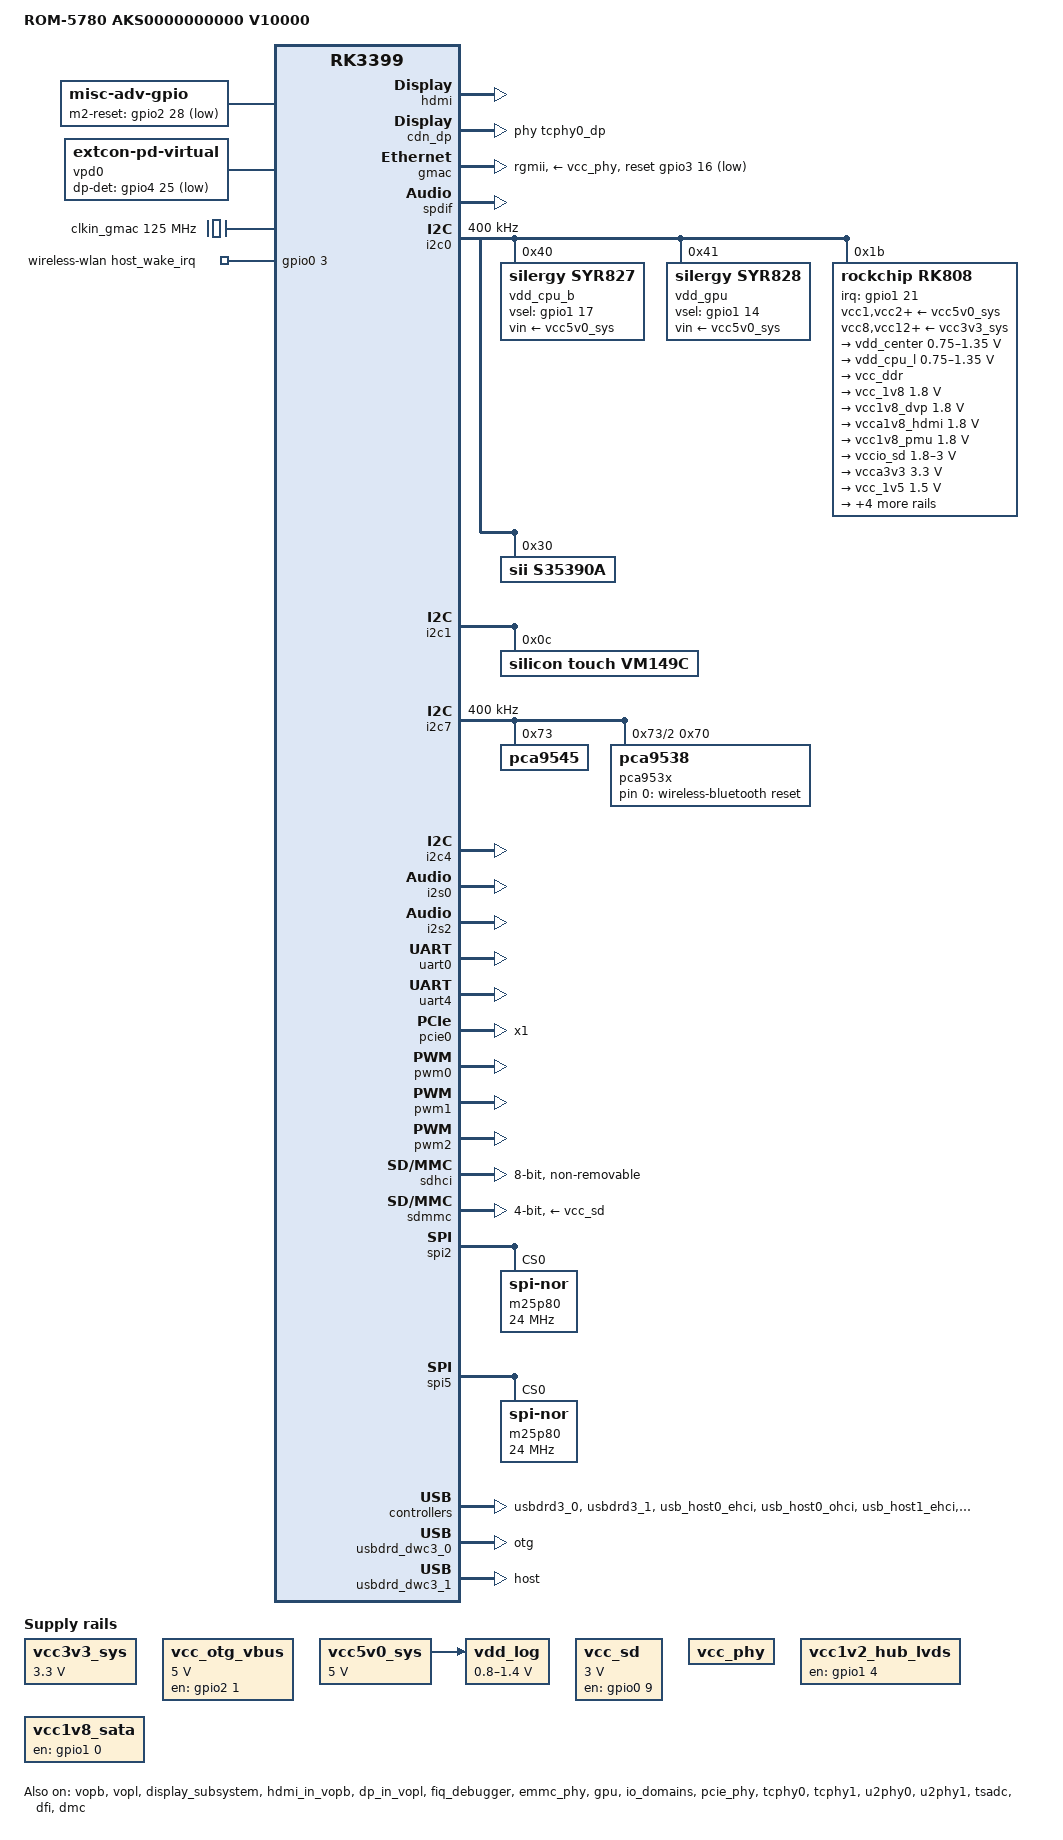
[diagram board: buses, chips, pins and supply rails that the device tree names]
/*
 * Copyright (c) 2019 Fuzhou Rockchip Electronics Co., Ltd
 *
 * This file is dual-licensed: you can use it either under the terms
 * of the GPL or the X11 license, at your option. Note that this dual
 * licensing only applies to this file, and not this project as a
 * whole.
 *
 *  a) This file is free software; you can redistribute it and/or
 *     modify it under the terms of the GNU General Public License as
 *     published by the Free Software Foundation; either version 2 of the
 *     License, or (at your option) any later version.
 *
 *     This file is distributed in the hope that it will be useful,
 *     but WITHOUT ANY WARRANTY; without even the implied warranty of
 *     MERCHANTABILITY or FITNESS FOR A PARTICULAR PURPOSE.  See the
 *     GNU General Public License for more details.
 *
 * Or, alternatively,
 *
 *  b) Permission is hereby granted, free of charge, to any person
 *     obtaining a copy of this software and associated documentation
 *     files (the "Software"), to deal in the Software without
 *     restriction, including without limitation the rights to use,
 *     copy, modify, merge, publish, distribute, sublicense, and/or
 *     sell copies of the Software, and to permit persons to whom the
 *     Software is furnished to do so, subject to the following
 *     conditions:
 *
 *     The above copyright notice and this permission notice shall be
 *     included in all copies or substantial portions of the Software.
 *
 *     THE SOFTWARE IS PROVIDED "AS IS", WITHOUT WARRANTY OF ANY KIND,
 *     EXPRESS OR IMPLIED, INCLUDING BUT NOT LIMITED TO THE WARRANTIES
 *     OF MERCHANTABILITY, FITNESS FOR A PARTICULAR PURPOSE AND
 *     NONINFRINGEMENT. IN NO EVENT SHALL THE AUTHORS OR COPYRIGHT
 *     HOLDERS BE LIABLE FOR ANY CLAIM, DAMAGES OR OTHER LIABILITY,
 *     WHETHER IN AN ACTION OF CONTRACT, TORT OR OTHERWISE, ARISING
 *     FROM, OUT OF OR IN CONNECTION WITH THE SOFTWARE OR THE USE OR
 *     OTHER DEALINGS IN THE SOFTWARE.
 */

/dts-v1/;
#include "dt-bindings/display/rk_fb.h"
#include "dt-bindings/pwm/pwm.h"
#include "rk3399.dtsi"
#include "rk3399-opp.dtsi"

#include "rk3399-linux.dtsi"
#include <dt-bindings/input/input.h>

//hdmi/dp dummy panel
#include <dt-bindings/display/screen-timing/lcd-adv-dummy.dtsi>

// edp panel
#include <dt-bindings/display/screen-timing/lcd-edp-general.dtsi>

// mipi-dsi to lvds panel
#include <dt-bindings/display/screen-timing/lcd-g070vw01.dtsi>
#include <dt-bindings/display/screen-timing/lcd-g150xgel05.dtsi>
#include <dt-bindings/display/screen-timing/lcd-g215hvn01.dtsi>
#include <dt-bindings/display/screen-timing/lcd-n101icgl21.dtsi>

/ {
	model = "ROM-5780 AKS0000000000 V10000";
	compatible = "rockchip,rk3399-rom5780-a1", "rockchip,rk3399";

	aliases {
		edp = &edp;
		hdmi = &hdmi;
		dp = &cdn_dp;
		vpd = &vpd0;
		dsi = &dsi;
		dsi1 = &dsi1;

		edp_in_vopb = &edp_in_vopb;
		edp_in_vopl = &edp_in_vopl;
		edp_panel = &edp_panel;
		hdmi_in_vopb = &hdmi_in_vopb;
		hdmi_in_vopl = &hdmi_in_vopl;
		dp_in_vopb = &dp_in_vopb;
		dp_in_vopl = &dp_in_vopl;
		dsi_in_vopb = &dsi_in_vopb;
		dsi_in_vopl = &dsi_in_vopl;
		dsi1_in_vopb = &dsi1_in_vopb;
		dsi1_in_vopl = &dsi1_in_vopl;

		edp_backlight = &backlight0;
		dsi_backlight = &backlight1;

		edp_vcc = &edp_vcc;
		edp_bkl_vdd = &edp_bkl_vdd;
		lvds_pwr_vcc = &lvds_pwr_vcc;
		lvds_bkl_vcc = &lvds_bkl_vcc;

		edp_route = &route_edp;
		dsi_route = &route_dsi;
		hdmi_route = &route_hdmi;

		hdmi_sound = &hdmi_sound;
		hdmi_i2s = &i2s2;
		dp_phy = &tcphy0;

		debug_console = &fiq_debugger;
		ethernet0 = &gmac;
	};

	fdt_dummy {
		status = "disabled";
		value = < 0 1 2 3 4 5 6 7 8 9
				  0 1 2 3 4 5 6 7 8 9
				  0 1 2 3 4 5 6 7 8 9
				  0 1 2 3 4 5 6 7 8 9 >;
	};

	misc-adv-gpio {
		compatible = "misc-adv-gpio";
		status = "okay";
		pinctrl-names = "default";
		pinctrl-0 = <&m2_reset_l>;
		m2-reset-gpio = <&gpio2 28 GPIO_ACTIVE_LOW>;
		timing-interval = <100>;
	};

	// Backlight edp
	backlight0: backlight0 {
		status = "disabled";
		compatible = "pwm-backlight";
		enable-gpios = <&gpio2 6 GPIO_ACTIVE_HIGH>;
		power-supply = <&edp_bkl_vdd>;
		pinctrl-names = "default";
		pinctrl-0 = <&edp_bkl_en>;
		pwms = <&pwm0 0 25000 0>;
		brightness-levels = <
			  0   1   2   3   4   5   6   7
			  8   9  10  11  12  13  14  15
			 16  17  18  19  20  21  22  23
			 24  25  26  27  28  29  30  31
			 32  33  34  35  36  37  38  39
			 40  41  42  43  44  45  46  47
			 48  49  50  51  52  53  54  55
			 56  57  58  59  60  61  62  63
			 64  65  66  67  68  69  70  71
			 72  73  74  75  76  77  78  79
			 80  81  82  83  84  85  86  87
			 88  89  90  91  92  93  94  95
			 96  97  98  99 100 101 102 103
			104 105 106 107 108 109 110 111
			112 113 114 115 116 117 118 119
			120 121 122 123 124 125 126 127
			128 129 130 131 132 133 134 135
			136 137 138 139 140 141 142 143
			144 145 146 147 148 149 150 151
			152 153 154 155 156 157 158 159
			160 161 162 163 164 165 166 167
			168 169 170 171 172 173 174 175
			176 177 178 179 180 181 182 183
			184 185 186 187 188 189 190 191
			192 193 194 195 196 197 198 199
			200 201 202 203 204 205 206 207
			208 209 210 211 212 213 214 215
			216 217 218 219 220 221 222 223
			224 225 226 227 228 229 230 231
			232 233 234 235 236 237 238 239
			240 241 242 243 244 245 246 247
			248 249 250 251 252 253 254 255>;
		default-brightness-level = <200>;
	};

	// Backlight dsi2lvds
	backlight1: backlight1 {
		status = "disabled";
		compatible = "pwm-backlight";
		/*power-supply = <&lvds_bkl_vcc>; //kernle*/
		/*power-gpios = <&gpio1 0 GPIO_ACTIVE_HIGH>; //uboot*/
		enable-gpios = <&gpio4 30 GPIO_ACTIVE_HIGH>;
		pinctrl-names = "default";
		pinctrl-0 = <&lvds_bkl_pwm_en>;
		pwms = <&pwm1 0 25000 0>;
		brightness-levels = <
			  0   1   2   3   4   5   6   7
			  8   9  10  11  12  13  14  15
			 16  17  18  19  20  21  22  23
			 24  25  26  27  28  29  30  31
			 32  33  34  35  36  37  38  39
			 40  41  42  43  44  45  46  47
			 48  49  50  51  52  53  54  55
			 56  57  58  59  60  61  62  63
			 64  65  66  67  68  69  70  71
			 72  73  74  75  76  77  78  79
			 80  81  82  83  84  85  86  87
			 88  89  90  91  92  93  94  95
			 96  97  98  99 100 101 102 103
			104 105 106 107 108 109 110 111
			112 113 114 115 116 117 118 119
			120 121 122 123 124 125 126 127
			128 129 130 131 132 133 134 135
			136 137 138 139 140 141 142 143
			144 145 146 147 148 149 150 151
			152 153 154 155 156 157 158 159
			160 161 162 163 164 165 166 167
			168 169 170 171 172 173 174 175
			176 177 178 179 180 181 182 183
			184 185 186 187 188 189 190 191
			192 193 194 195 196 197 198 199
			200 201 202 203 204 205 206 207
			208 209 210 211 212 213 214 215
			216 217 218 219 220 221 222 223
			224 225 226 227 228 229 230 231
			232 233 234 235 236 237 238 239
			240 241 242 243 244 245 246 247
			248 249 250 251 252 253 254 255>;
		default-brightness-level = <200>;
	};

	//edp vcc
	edp_vcc: edp-vcc {
		compatible = "regulator-fixed";
		regulator-name = "edp_vcc";
		pinctrl-names = "default";
		pinctrl-0 = <&edp_vdd_pwr>;
		gpio = <&gpio2 4 GPIO_ACTIVE_HIGH>;
		startup-delay-us = <100000>;
		enable-active-high;
		//regulator-always-on;
		regulator-boot-on;
		//regulator-uboot-logo;
		status = "disabled";
	};

	edp_bkl_vdd: edp-bkl-vdd {
		compatible = "regulator-fixed";
		regulator-name = "edp_bkl_vdd";
		regulator-always-on;
		regulator-boot-on;
		regulator-uboot-logo;
		regulator-min-microvolt = <3300000>;
		regulator-max-microvolt = <3300000>;
		status = "disabled";
	};

	edp_panel: edp-panel {
		status = "disabled";
		compatible = "simple-panel";
		backlight = <&backlight0>;
		power-supply = <&edp_vcc>;
		//power-gpios = <&gpio2 4 GPIO_ACTIVE_HIGH>;
		enable-delay-ms = <50>;
		prepare-delay-ms = <1>;
		unprepare-delay-ms = <1>;
		panel_type = <SCREEN_EDP>;

		display-timings = <&disp_timings>;

		ports {
			panel_in_edp: endpoint {
				remote-endpoint = <&edp_out_panel>;
			};
		};
	};

	//lvds vcc
	lvds_pwr_vcc: lvds-pwr-vcc {
		compatible = "regulator-fixed";
		regulator-name = "lvds_pwr_vcc";
		pinctrl-names = "default";
		pinctrl-0 = <&lvds_vdd_pwr>;
		gpio = <&gpio2 5 GPIO_ACTIVE_HIGH>;
		//startup-delay-us = <20000>;
		enable-active-high;
		//regulator-always-on;
		regulator-boot-on;
		regulator-uboot-logo;
		status = "disabled";
	};

	lvds_bkl_vcc: lvds-bkl-vcc {
		compatible = "regulator-fixed";
		regulator-name = "lvds_bkl_vcc";
		pinctrl-names = "default";
		pinctrl-0 = <&lvds_bkl_pwr_on>;
		gpio = <&gpio1 0 GPIO_ACTIVE_HIGH>;
		enable-active-high;
		//regulator-always-on;
		regulator-boot-on;
		regulator-uboot-logo;
		status = "disabled";
	};

	vpd0: virtual-pd0 {
		compatible = "linux,extcon-pd-virtual";
		dp-det-gpios = <&gpio4 25 GPIO_ACTIVE_LOW>; //GPIO4_D1 - DP_HOTPLUG
		pinctrl-names = "default";
		pinctrl-0 = <&dp_det>;
		/* 0: positive, 1: negative*/
		vpd,init-flip = <0>;
		/* 0: u2, 1: u3*/
		vpd,init-ss = <0>;
		/* 0: dfp, 1: ufp, 2: dp 3: dp/ufp */
		vpd,init-mode = <2>;
		status = "okay";
	};

	hdmi_sound: hdmi-sound {
		status = "okay";
		compatible = "simple-audio-card";
		simple-audio-card,format = "i2s";
		simple-audio-card,mclk-fs = <256>;
		simple-audio-card,name = "rockchip,hdmi";

		simple-audio-card,cpu {
			sound-dai = <&i2s2>;
		};
		simple-audio-card,codec {
			sound-dai = <&hdmi>;
		};
	};

	dp_sound: dp-sound {
		status = "okay";
		compatible = "rockchip,cdndp-sound";
		rockchip,cpu = <&spdif>;
		rockchip,codec = <&cdn_dp 1>;
	};

	clkin_gmac: external-gmac-clock {
		compatible = "fixed-clock";
		clock-frequency = <125000000>;
		clock-output-names = "clkin_gmac";
		#clock-cells = <0>;
	};

	wireless-wlan {
		compatible = "wlan-platdata";
		rockchip,grf = <&grf>;
		wifi_chip_type = "rtl8723bs";
		sdio_vref = <1800>;
		WIFI,host_wake_irq = <&gpio0 3 GPIO_ACTIVE_HIGH>;
		status = "okay";
	};

	wireless-bluetooth {
		compatible = "bluetooth-platdata";
		clocks = <&rk808 1>;
		clock-names = "ext_clock";
		/* wifi-bt-power-toggle; */
		/*uart_rts_gpios = <&gpio2 19 GPIO_ACTIVE_LOW>;*/
		/*pinctrl-names = "default", "rts_gpio";*/
		/*pinctrl-0 = <&uart0_rts>;*/
		/*pinctrl-1 = <&uart0_gpios>;*/
		/* BT,power_gpio  = <&gpio3 19 GPIO_ACTIVE_HIGH>; */
		BT,reset_gpio    = <&pca953x 0 GPIO_ACTIVE_HIGH>;
		status = "okay";
	};

	vcc3v3_sys: vcc3v3-sys {
		compatible = "regulator-fixed";
		regulator-name = "vcc3v3_sys";
		regulator-always-on;
		regulator-boot-on;
		regulator-min-microvolt = <3300000>;
		regulator-max-microvolt = <3300000>;
	};

	vcc_otg_vbus: otg-vbus-regulator {
		compatible = "regulator-fixed";
		gpio = <&gpio2 1 GPIO_ACTIVE_HIGH>;
		pinctrl-names = "default";
		pinctrl-0 = <&otg_vbus_drv>;
		regulator-name = "vcc_otg_vbus";
		regulator-min-microvolt = <5000000>;
		regulator-max-microvolt = <5000000>;
		enable-active-high;
	};

	vcc5v0_sys: vcc5v0-sys {
		compatible = "regulator-fixed";
		regulator-name = "vcc5v0_sys";
		regulator-always-on;
		regulator-boot-on;
		regulator-min-microvolt = <5000000>;
		regulator-max-microvolt = <5000000>;
	};

	vcc_sd: vcc-sd {
		compatible = "regulator-fixed";
		enable-active-high;
		gpio = <&gpio0 9 GPIO_ACTIVE_HIGH>;
		pinctrl-names = "default";
		pinctrl-0 = <&sdio_pwr_en>;
		regulator-name = "vcc_sd";
		regulator-min-microvolt = <3000000>;
		regulator-max-microvolt = <3000000>;
		regulator-boot-on;
	};

	vcc_phy: vcc-phy-regulator {
		compatible = "regulator-fixed";
		regulator-name = "vcc_phy";
		regulator-always-on;
		regulator-boot-on;
	};

	vdd_log: vdd-log {
		compatible = "pwm-regulator";
		pwms = <&pwm2 0 25000 1>;
		regulator-name = "vdd_log";
		regulator-min-microvolt = <800000>;
		regulator-max-microvolt = <1400000>;
		regulator-always-on;
		regulator-boot-on;

		/* for rockchip boot on */
		rockchip,pwm_id= <2>;
		rockchip,pwm_voltage = <900000>;

		vin-supply = <&vcc5v0_sys>;
		status = "okay";
	};

	vcc1v2_hub_lvds: vcc1v2-hub-regulator {
		compatible = "regulator-fixed";
		regulator-name = "vcc1v2_hub_lvds";
		enable-active-high;
		regulator-always-on;
		regulator-boot-on;
		gpio = <&gpio1 4 GPIO_ACTIVE_HIGH>;
		pinctrl-names = "default";
		pinctrl-0 = <&vcc1v2_en>;
	};

	vcc1v8_sata: vcc1v8-sata-regulator {
		compatible = "regulator-fixed";
		enable-active-high;
		regulator-always-on;
		regulator-boot-on;
		gpio = <&gpio1 0 GPIO_ACTIVE_HIGH>; //GPIO1_A0 - SATA_ACT_1V8#
		pinctrl-names = "default";
		pinctrl-0 = <&sata_drv>;
		regulator-name = "vcc1v8_sata";
	};
};

&vopb {
	assigned-clocks = <&cru DCLK_VOP0_DIV>;
	assigned-clock-parents = <&cru PLL_VPLL>;
	status = "okay";
};

&vopb_mmu {
	status = "okay";
};

&vopl {
	assigned-clocks = <&cru DCLK_VOP1_DIV>;
	assigned-clock-parents = <&cru PLL_CPLL>;
	status = "okay";
};

&vopl_mmu {
	status = "okay";
};

&display_subsystem {
	status = "okay";
};

&disp_timings {
	native-mode = <&edp_1920x1080>;
//	native-mode = <&lvds_g070vw01>;
//	native-mode = <&lvds_g150xgel05>;
//	native-mode = <&lvds_g215hvn01>;

	use-dts-screen = <0>;
	prmry-screen = <&hdmi_default>;
	extend-screen = <&dp_default>;
};

// edp
&edp_panel {
	status = "disabled";
};

&edp {
	status = "disabled";
	force-hpd;
	//hpd-gpios = <&gpio4 28 GPIO_ACTIVE_HIGH>;

	ports {
		port@1 {
			reg = <1>;

			edp_out_panel: endpoint {
				remote-endpoint = <&panel_in_edp>;
			};
		};
	};
};

&edp_in_vopb {
	status = "disabled";
};

&edp_in_vopl {
	status = "disabled";
};

&route_edp{
	status = "disabled";
	connect = <&vopl_out_edp>;
};

&route_dsi{
	status = "disabled";
	connect = <&vopl_out_dsi>;
};

&route_hdmi {
	status = "disabled";
};

// hdmi
&hdmi {
	#address-cells = <1>;
	#size-cells = <0>;
	#sound-dai-cells = <0>;
	status = "okay";
};

&hdmi_in_vopb {
	status = "okay";
};

&hdmi_in_vopl {
	status = "disabled";
};

// dp
&cdn_dp {
	status = "okay";
	extcon = <&vpd0>;
	phys = <&tcphy0_dp>;
	dp_vop_sel = <1>;
};

&dp_in_vopb {
	status = "disabled";
};

&dp_in_vopl {
	status = "okay";
};

// dsi
&dsi {
	pinctrl-names = "default";
	pinctrl-0 = <&dsi_enable_h &dsi_reset_l>;
	power-supply = <&vcc1v2_hub_lvds>;
	power-io-supply = <&vcc_1v8>;
	enable-gpios = <&gpio0 2 GPIO_ACTIVE_HIGH>;
	reset-gpios = <&gpio1 24 GPIO_ACTIVE_HIGH>;
	status = "disabled";

	panel@0 {
		compatible = "simple-panel-dsi";
		reg = <0>;
		backlight = <&backlight1>;
		power-supply = <&lvds_pwr_vcc>;
		power-gpios = <&gpio2 5 GPIO_ACTIVE_HIGH>;

		dsi,flags = <(MIPI_DSI_MODE_VIDEO | MIPI_DSI_MODE_VIDEO_BURST |
			      MIPI_DSI_MODE_LPM | MIPI_DSI_MODE_EOT_PACKET)>;
		dsi,format = <MIPI_DSI_FMT_RGB888>;
		dsi,lanes = <4>;
		enable-delay-ms = <250>;
		disable-delay-ms = <330>;
		unprepare-delay-ms = <16>;

		panel_type = <SCREEN_LVDS>;
		display-timings = <&disp_timings>;
	};
};

&dsi_in_vopb {
	status = "disabled";
};

&dsi_in_vopl {
	status = "disabled";
};

&gmac {
	phy-supply = <&vcc_phy>;
	phy-mode = "rgmii";
	clock_in_out = "input";
	snps,reset-gpio = <&gpio3 16 GPIO_ACTIVE_LOW>;
	snps,reset-active-low;
	snps,reset-delays-us = <10 20000 75000>;
	assigned-clocks = <&cru SCLK_RMII_SRC>;
	assigned-clock-parents = <&clkin_gmac>;
	pinctrl-names = "default";
	pinctrl-0 = <&rgmii_16ma_pins &rgmii_phy_reset>;
	enable_phy_delay = <1>;
	tx_delay = <0>;
	rx_delay = <0>;
	status = "okay";
};

&spdif {
	status = "okay";
	/delete-property/ pinctrl-names;
	/delete-property/ pinctrl-0;
};

&i2c0 {
	status = "okay";
	i2c-scl-rising-time-ns = <345>;
	i2c-scl-falling-time-ns = <11>;
	clock-frequency = <400000>;

	vdd_cpu_b: syr827@40 {
		compatible = "silergy,syr827";
		reg = <0x40>;
		vin-supply = <&vcc5v0_sys>;
		regulator-compatible = "fan53555-reg";
		regulator-name = "vdd_cpu_b";
		pinctrl-names = "default";
		pinctrl-0 = <&vsel1_gpio>;
		vsel-gpios = <&gpio1 17 GPIO_ACTIVE_HIGH>;
		regulator-min-microvolt = <712500>;
		regulator-max-microvolt = <1500000>;
		regulator-ramp-delay = <1000>;
		fcs,suspend-voltage-selector = <1>;
		regulator-always-on;
		regulator-boot-on;
		//regulator-initial-state = <3>;
			regulator-state-mem {
			regulator-off-in-suspend;
		};
	};

	vdd_gpu: syr828@41 {
		compatible = "silergy,syr828";
		reg = <0x41>;
		vin-supply = <&vcc5v0_sys>;
		regulator-compatible = "fan53555-reg";
		regulator-name = "vdd_gpu";
		pinctrl-names = "default";
		pinctrl-0 = <&vsel2_gpio>;
		vsel-gpios = <&gpio1 14 GPIO_ACTIVE_HIGH>;
		regulator-min-microvolt = <712500>;
		regulator-max-microvolt = <1500000>;
		regulator-ramp-delay = <1000>;
		fcs,suspend-voltage-selector = <1>;
		regulator-always-on;
		regulator-boot-on;
		//regulator-initial-state = <3>;
		regulator-initial-mode = <1>; /* 1:force PWM 2:auto */
			regulator-state-mem {
			regulator-off-in-suspend;
		};
	};

	rk808: pmic@1b {
		compatible = "rockchip,rk808";
		reg = <0x1b>;
		interrupt-parent = <&gpio1>;
		interrupts = <21 IRQ_TYPE_LEVEL_LOW>;
		pinctrl-names = "default";
		pinctrl-0 = <&pmic_int_l &clk32k_in>;
		rockchip,system-power-controller;
		wakeup-source;
		#clock-cells = <1>;
		clock-output-names = "rk808-clkout1", "rk808-clkout2";
		bulk-ilmax = <0x50>;

		vcc1-supply = <&vcc5v0_sys>;
		vcc2-supply = <&vcc5v0_sys>;
		vcc3-supply = <&vcc5v0_sys>;
		vcc4-supply = <&vcc5v0_sys>;
		vcc6-supply = <&vcc5v0_sys>;
		vcc7-supply = <&vcc5v0_sys>;
		vcc8-supply = <&vcc3v3_sys>;
		vcc9-supply = <&vcc5v0_sys>;
		vcc10-supply = <&vcc5v0_sys>;
		vcc11-supply = <&vcc5v0_sys>;
		vcc12-supply = <&vcc3v3_sys>;
		vddio-supply = <&vcc3v3_sys>;

		regulators {
			vdd_center: DCDC_REG1 {
				regulator-always-on;
				regulator-boot-on;
				regulator-min-microvolt = <750000>;
				regulator-max-microvolt = <1350000>;
				regulator-ramp-delay = <6001>;
				regulator-name = "vdd_center";
				regulator-state-mem {
					regulator-off-in-suspend;
				};
			};

			vdd_cpu_l: DCDC_REG2 {
				regulator-always-on;
				regulator-boot-on;
				regulator-min-microvolt = <750000>;
				regulator-max-microvolt = <1350000>;
				regulator-ramp-delay = <6001>;
				regulator-name = "vdd_cpu_l";
				regulator-state-mem {
					regulator-off-in-suspend;
				};
			};

			vcc_ddr: DCDC_REG3 {
				regulator-always-on;
				regulator-boot-on;
				regulator-name = "vcc_ddr";
				regulator-state-mem {
					regulator-on-in-suspend;
				};
			};

			vcc_1v8: DCDC_REG4 {
				regulator-always-on;
				regulator-boot-on;
				regulator-min-microvolt = <1800000>;
				regulator-max-microvolt = <1800000>;
				regulator-name = "vcc_1v8";
				regulator-state-mem {
					regulator-on-in-suspend;
					regulator-suspend-microvolt = <1800000>;
				};
			};

			vcc1v8_dvp: LDO_REG1 {
				regulator-always-on;
				regulator-boot-on;
				regulator-min-microvolt = <1800000>;
				regulator-max-microvolt = <1800000>;
				regulator-name = "vcc1v8_dvp";
				regulator-state-mem {
					regulator-on-in-suspend;
					regulator-suspend-microvolt = <1800000>;
				};
			};

			vcca1v8_hdmi: LDO_REG2 {
				regulator-always-on;
				regulator-boot-on;
				regulator-min-microvolt = <1800000>;
				regulator-max-microvolt = <1800000>;
				regulator-name = "vcca1v8_hdmi";
				regulator-state-mem {
					regulator-on-in-suspend;
					regulator-suspend-microvolt = <1800000>;
				};
			};

			vcc1v8_pmu: LDO_REG3 {
				regulator-always-on;
				regulator-boot-on;
				regulator-min-microvolt = <1800000>;
				regulator-max-microvolt = <1800000>;
				regulator-name = "vcc1v8_pmu";
				regulator-state-mem {
					regulator-on-in-suspend;
					regulator-suspend-microvolt = <1800000>;
				};
			};

			vccio_sd: LDO_REG4 {
				regulator-always-on;
				regulator-boot-on;
				regulator-min-microvolt = <1800000>;
				regulator-max-microvolt = <3000000>;
				regulator-name = "vccio_sd";
				regulator-state-mem {
					regulator-on-in-suspend;
					regulator-suspend-microvolt = <3000000>;
				};
			};

			vcca3v3: LDO_REG5 {
				regulator-always-on;
				regulator-boot-on;
				regulator-min-microvolt = <3300000>;
				regulator-max-microvolt = <3300000>;
				regulator-name = "vcca3v3";
				regulator-state-mem {
					regulator-off-in-suspend;
				};
			};

			vcc_1v5: LDO_REG6 {
				regulator-always-on;
				regulator-boot-on;
				regulator-min-microvolt = <1500000>;
				regulator-max-microvolt = <1500000>;
				regulator-name = "vcc_1v5";
				regulator-state-mem {
					regulator-on-in-suspend;
					regulator-suspend-microvolt = <1500000>;
				};
			};

			vcca0v9_hdmi: LDO_REG7 {
				regulator-always-on;
				regulator-boot-on;
				regulator-min-microvolt = <900000>;
				regulator-max-microvolt = <900000>;
				regulator-name = "vcca0v9_hdmi";
				regulator-state-mem {
					regulator-on-in-suspend;
					regulator-suspend-microvolt = <900000>;
				};
			};

			vcc_3v0: LDO_REG8 {
				regulator-always-on;
				regulator-boot-on;
				regulator-min-microvolt = <3000000>;
				regulator-max-microvolt = <3000000>;
				regulator-name = "vcc_3v0";
				regulator-state-mem {
					regulator-on-in-suspend;
					regulator-suspend-microvolt = <3000000>;
				};
			};

			vcc3v3_s3: SWITCH_REG1 {
				regulator-always-on;
				regulator-boot-on;
				regulator-name = "vcc3v3_s3";
				regulator-state-mem {
					regulator-off-in-suspend;
				};
			};

			vcc3v3_s0: SWITCH_REG2 {
				regulator-always-on;
				regulator-boot-on;
				regulator-name = "vcc3v3_s0";
				regulator-state-mem {
					regulator-off-in-suspend;
				};
			};
		};
	};

	s35390a: s35390a@30 {
		 compatible = "sii,s35390a";
		 reg = <0x30>;
	};
};

&i2c1 {
	status = "okay";
	i2c-scl-rising-time-ns = <300>;
	i2c-scl-falling-time-ns = <15>;

	vm149c: vm149c@0c {
		compatible = "silicon touch,vm149c";
		status = "okay";
		reg = <0x0c>;
		rockchip,camera-module-index = <0>;
		rockchip,camera-module-facing = "back";
	};

/*
	ov8858: ov8858@36 {
		compatible = "ovti,ov8858";
		status = "okay";
		reg = <0x36>;
		clocks = <&cru SCLK_CIF_OUT>;
		clock-names = "xvclk";

		reset-gpios = <&gpio2 27 GPIO_ACTIVE_HIGH>;
		pwdn-gpios = <&gpio1 23 GPIO_ACTIVE_LOW>;
		pinctrl-names = "rockchip,camera_default";
		pinctrl-0 = <&cif_clkout &cam0_default_pins>;
		rockchip,camera-module-index = <0>;
		rockchip,camera-module-facing = "back";
		rockchip,camera-module-name = "CameraKing";
		rockchip,camera-module-lens-name = "Largan-9569A2";

		lens-focus = <&vm149c>;

		port {
			ucam_out0: endpoint {
				remote-endpoint = <&mipi_in_ucam0>;
				data-lanes = <1 2>;
			};
		};
	};
*/
};

&i2c7 {
	status = "okay";
	clock-frequency = <400000>;
	pca9545: mux@73 {
		compatible = "pca9545";
		reg = <0x73>;
		#address-cells = <1>;
		#size-cells = <0>;

		i2c@2 {
			#address-cells = <1>;
			#size-cells = <0>;
			reg = <2>;
			pca953x: pca953x@70 {
				compatible = "pca9538";
				reg = <0x70>;
				pinctrl-names = "default";
				/*pinctrl-0 = <&tx28_pca9554_pins>;*/
				/*interrupt-parent = <&gpio3>;*/
				/*interrupts = <28 0>;*/
				gpio-controller;
				#gpio-cells = <2>;
				/*interrupt-controller;*/
				/*#interrupt-cells = <2>;*/
			};
		};
	};
};

&i2c4 {
	status = "okay";
	i2c-scl-rising-time-ns = <475>;
	i2c-scl-falling-time-ns = <26>;
};

&i2s0 {
	status = "okay";
	pinctrl-0 = <&i2s0_8ch_bus_1>;
	rockchip,i2s-broken-burst-len;
	rockchip,playback-channels = <8>;
	rockchip,capture-channels = <8>;
	#sound-dai-cells = <0>;
};

&i2s2 {
	#sound-dai-cells = <0>;
	status = "okay";
};

&uart0 {
	dmas = <&dmac_peri 0>, <&dmac_peri 1>;
	dma-names = "tx", "rx";
	status = "okay";
};

&fiq_debugger {
	rockchip,baudrate = <115200>;  /* Only 115200 and 1500000 */
	status = "okay";
};

&uart2 {
	status = "disabled";
};

&uart4 {
	dmas = <&dmac_peri 8>, <&dmac_peri 9>;
	dma-names = "tx", "rx";
	status = "okay";
};

&cpu_l0 {
	cpu-supply = <&vdd_cpu_l>;
};

&cpu_l1 {
	cpu-supply = <&vdd_cpu_l>;
};

&cpu_l2 {
	cpu-supply = <&vdd_cpu_l>;
};

&cpu_l3 {
	cpu-supply = <&vdd_cpu_l>;
};

&cpu_b0 {
	cpu-supply = <&vdd_cpu_b>;
};

&cpu_b1 {
	cpu-supply = <&vdd_cpu_b>;
};

&emmc_phy {
	status = "okay";
};

&gpu {
	status = "okay";
	mali-supply = <&vdd_gpu>;
};

&io_domains {
	status = "okay";
	bt656-supply = <&vcc_1v8>;			/* bt656_gpio2ab_ms */
	audio-supply = <&vcc1v8_dvp>;		/* audio_gpio3d4a_ms */
	sdmmc-supply = <&vccio_sd>;			/* sdmmc_gpio4b_ms */
	gpio1830-supply = <&vcc_1v8>;		/* gpio1833_gpio4cd_ms */
};

&pmu_io_domains {
	status = "okay";
	pmu1830-supply = <&vcc_1v8>;
};

&pcie_phy {
	status = "okay";
};

&pcie0 {
	//ep-gpios = <&gpio2 28 GPIO_ACTIVE_HIGH>;
	num-lanes = <1>;
	/*pinctrl-names = "default";*/
	/*pinctrl-0 = <&pcie_clkreqn>;*/
	status = "okay";
};

&pwm0 {
	status = "okay";
};

&pwm1 {
	status = "okay";
};

&pwm2 {
	status = "okay";
};

&sdhci {
	bus-width = <8>;
	mmc-hs400-1_8v;
	supports-emmc;
	non-removable;
	keep-power-in-suspend;
	mmc-hs400-enhanced-strobe;
	status = "okay";
};

&sdmmc {
	clock-frequency = <150000000>;
	clock-freq-min-max = <100000 150000000>;
	supports-sd;
	bus-width = <4>;
	cap-mmc-highspeed;
	cap-sd-highspeed;
	disable-wp;
	num-slots = <1>;
	//sd-uhs-sdr104;
	vmmc-supply = <&vcc_sd>;
	vqmmc-supply = <&vccio_sd>;
	pinctrl-names = "default";
	pinctrl-0 = <&sdmmc_clk &sdmmc_cmd &sdmmc_cd &sdmmc_bus4>;
	status = "okay";
};

&spi2 {
	status = "okay";
	max-freq = <48000000>;

	m25p80@0 {
		compatible = "jedec,spi-nor";
		spi-max-frequency = <24000000>;
		reg = <0>;
		//spi-cpol;
		//spi-cpha;
	};
};

&spi5 {
	status = "okay";
	max-freq = <48000000>;

	m25p80@0 {
		compatible = "jedec,spi-nor";
		spi-max-frequency = <24000000>;
		reg = <0>;
		//spi-cpol;
		//spi-cpha;
	};

};

&saradc {
	status = "disabled";
};

//DP
&tcphy0 {
	extcon = <&vpd0>;
	status = "okay";
};

//USB_HUB
&tcphy1 {
	status = "okay";
};

&u2phy0 {
	status = "okay";
	rockchip,u2phy-tuning;

	u2phy0_otg: otg-port {
		vbus-supply = <&vcc_otg_vbus>;
		status = "okay";
	};

	u2phy0_host: host-port {
		status = "okay";
	};
};

&u2phy1 {
	status = "okay";

	u2phy1_host: host-port {
		status = "okay";
	};
};

&usbdrd3_0 {
	extcon = <&u2phy0>;
	status = "okay";
};

&usbdrd3_1 {
	status = "okay";
};

&usbdrd_dwc3_0 {
	dr_mode = "otg";
	status = "okay";
};

&usbdrd_dwc3_1 {
	status = "okay";
	dr_mode = "host";
};

&usb_host0_ehci {
	status = "okay";
};

&usb_host0_ohci {
	status = "okay";
};

&usb_host1_ehci {
	status = "okay";
};

&usb_host1_ohci {
	status = "okay";
};

&rockchip_suspend {
	status = "okay";
	rockchip,sleep-debug-en = <1>;
	rockchip,sleep-mode-config = <
		(0
		| RKPM_SLP_ARMPD
		| RKPM_SLP_PERILPPD
		| RKPM_SLP_DDR_RET
		| RKPM_SLP_PLLPD
		| RKPM_SLP_CENTER_PD
		| RKPM_SLP_AP_PWROFF
		)
		>;
	rockchip,wakeup-config = <
		(0
		| RKPM_GPIO_WKUP_EN
		| RKPM_PWM_WKUP_EN
		)
		>;
		rockchip,pwm-regulator-config = <
		(0
		| PWM2_REGULATOR_EN
		)
		>;
	rockchip,power-ctrl =
		<&gpio1 17 GPIO_ACTIVE_HIGH>,
		<&gpio1 14 GPIO_ACTIVE_HIGH>;
};

&tsadc {
	/* tshut mode 0:CRU 1:GPIO */
	rockchip,hw-tshut-mode = <0>;
	/* tshut polarity 0:LOW 1:HIGH */
	rockchip,hw-tshut-polarity = <1>;
	rockchip,hw-tshut-temp = <120000>;
	status = "okay";
};

&dfi {
	status = "okay";
};

&dmc {
	status = "okay";
	center-supply = <&vdd_center>;
	system-status-freq = <
		/*system status         freq(KHz)*/
		SYS_STATUS_NORMAL       856000
		SYS_STATUS_REBOOT       416000
		SYS_STATUS_SUSPEND      416000
		SYS_STATUS_VIDEO_1080P  416000
		SYS_STATUS_VIDEO_4K     856000
		SYS_STATUS_VIDEO_4K_10B 856000
		SYS_STATUS_PERFORMANCE  856000
		SYS_STATUS_BOOST        856000
		SYS_STATUS_DUALVIEW     856000
		SYS_STATUS_ISP          856000
	>;
	vop-bw-dmc-freq = <
	/* min_bw(MB/s) max_bw(MB/s) freq(KHz) */
		0       577      416000
		578     99999    856000
	>;
	auto-min-freq = <416000>;
	auto-freq-en = <0>;
};

&cluster0_opp {
	opp-408000000 {
		opp-microvolt = <840000 840000 1250000>;
		opp-microvolt-L0 = <840000 840000 1250000>;
		opp-microvolt-L1 = <840000 840000 1250000>;
		opp-microvolt-L2 = <840000 840000 1250000>;
		opp-microvolt-L3 = <840000 840000 1250000>;
	};
	opp-600000000 {
		opp-microvolt = <840000 840000 1250000>;
		opp-microvolt-L0 = <840000 840000 1250000>;
		opp-microvolt-L1 = <840000 840000 1250000>;
		opp-microvolt-L2 = <840000 840000 1250000>;
		opp-microvolt-L3 = <840000 840000 1250000>;
	};
	opp-816000000 {
		opp-microvolt = <850000 850000 1250000>;
		opp-microvolt-L0 = <850000 850000 1250000>;
		opp-microvolt-L1 = <850000 850000 1250000>;
		opp-microvolt-L2 = <800000 800000 1250000>;
		opp-microvolt-L3 = <800000 800000 1250000>;
	};
	opp-1008000000 {
		opp-microvolt = <925000 925000 1250000>;
		opp-microvolt-L0 = <925000 925000 1250000>;
		opp-microvolt-L1 = <900000 900000 1250000>;
		opp-microvolt-L2 = <875000 875000 1250000>;
		opp-microvolt-L3 = <850000 850000 1250000>;
	};
	opp-1200000000 {
		opp-microvolt = <1000000 1000000 1250000>;
		opp-microvolt-L0 = <1000000 1000000 1250000>;
		opp-microvolt-L1 = <975000 975000 1250000>;
		opp-microvolt-L2 = <950000 950000 1250000>;
		opp-microvolt-L3 = <925000 925000 1250000>;
	};
	opp-1416000000 {
		opp-microvolt = <1125000 1125000 1250000>;
		opp-microvolt-L0 = <1125000 1125000 1250000>;
		opp-microvolt-L1 = <1100000 1100000 1250000>;
		opp-microvolt-L2 = <1075000 1075000 1250000>;
		opp-microvolt-L3 = <1050000 1050000 1250000>;
	};
};

&cluster1_opp {
	opp-408000000 {
		opp-microvolt = <840000 840000 1250000>;
		opp-microvolt-L0 = <840000 840000 1250000>;
		opp-microvolt-L1 = <840000 840000 1250000>;
		opp-microvolt-L2 = <840000 840000 1250000>;
		opp-microvolt-L3 = <840000 840000 1250000>;
	};
	opp-600000000 {
		opp-microvolt = <840000 840000 1250000>;
		opp-microvolt-L0 = <840000 840000 1250000>;
		opp-microvolt-L1 = <840000 840000 1250000>;
		opp-microvolt-L2 = <840000 840000 1250000>;
		opp-microvolt-L3 = <840000 840000 1250000>;
	};
	opp-816000000 {
		opp-microvolt = <855000 855000 1250000>;
		opp-microvolt-L0 = <855000 855000 1250000>;
		opp-microvolt-L1 = <855000 855000 1250000>;
		opp-microvolt-L2 = <800000 800000 1250000>;
		opp-microvolt-L3 = <800000 800000 1250000>;
	};
	opp-1008000000 {
		opp-microvolt = <875000 875000 1250000>;
		opp-microvolt-L0 = <875000 875000 1250000>;
		opp-microvolt-L1 = <850000 850000 1250000>;
		opp-microvolt-L2 = <850000 850000 1250000>;
		opp-microvolt-L3 = <850000 850000 1250000>;
	};
	opp-1200000000 {
		opp-microvolt = <950000 950000 1250000>;
		opp-microvolt-L0 = <950000 950000 1250000>;
		opp-microvolt-L1 = <925000 925000 1250000>;
		opp-microvolt-L2 = <900000 900000 1250000>;
		opp-microvolt-L3 = <875000 875000 1250000>;
	};
	opp-1416000000 {
		opp-microvolt = <1025000 1025000 1250000>;
		opp-microvolt-L0 = <1025000 1025000 1250000>;
		opp-microvolt-L1 = <1000000 1000000 1250000>;
		opp-microvolt-L2 = <1000000 1000000 1250000>;
		opp-microvolt-L3 = <975000 975000 1250000>;
	};
	opp-1608000000 {
		opp-microvolt = <1100000 1100000 1250000>;
		opp-microvolt-L0 = <1100000 1100000 1250000>;
		opp-microvolt-L1 = <1075000 1075000 1250000>;
		opp-microvolt-L2 = <1050000 1050000 1250000>;
		opp-microvolt-L3 = <1025000 1025000 1250000>;
	};
	opp-1800000000 {
		opp-microvolt = <1200000 1200000 1250000>;
		opp-microvolt-L0 = <1200000 1200000 1250000>;
		opp-microvolt-L1 = <1175000 1175000 1250000>;
		opp-microvolt-L2 = <1150000 1150000 1250000>;
		opp-microvolt-L3 = <1125000 1125000 1250000>;
	};
};

&gpu_opp_table {
	opp-200000000 {
		opp-microvolt = <830000>;
		opp-microvolt-L0 = <830000>;
		opp-microvolt-L1 = <830000>;
		opp-microvolt-L2 = <830000>;
		opp-microvolt-L3 = <830000>;
	};
	opp-300000000 {
		opp-microvolt = <830000>;
		opp-microvolt-L0 = <830000>;
		opp-microvolt-L1 = <830000>;
		opp-microvolt-L2 = <830000>;
		opp-microvolt-L3 = <830000>;
	};
	opp-400000000 {
		opp-microvolt = <855000>;
		opp-microvolt-L0 = <855000>;
		opp-microvolt-L1 = <855000>;
		opp-microvolt-L2 = <800000>;
		opp-microvolt-L3 = <800000>;
	};
	opp-600000000 {
		opp-microvolt = <955000>;
		opp-microvolt-L0 = <955000>;
		opp-microvolt-L1 = <955000>;
		opp-microvolt-L2 = <900000>;
		opp-microvolt-L3 = <900000>;
	};
	opp-800000000 {
		opp-microvolt = <1100000>;
		opp-microvolt-L0 = <1100000>;
		opp-microvolt-L1 = <1075000>;
		opp-microvolt-L2 = <1050000>;
		opp-microvolt-L3 = <1025000>;
	};
};

&dmc_opp_table {
	compatible = "operating-points-v2";

	opp-200000000 {
		opp-hz = /bits/ 64 <200000000>;
		opp-microvolt = <900000>;
		status = "disabled";
	};
	opp-300000000 {
		opp-hz = /bits/ 64 <300000000>;
		opp-microvolt = <900000>;
		status = "disabled";
	};
	opp-400000000 {
		opp-hz = /bits/ 64 <400000000>;
		opp-microvolt = <900000>;
		status = "disabled";
	};
	opp-416000000 {
		opp-hz = /bits/ 64 <416000000>;
		opp-microvolt = <900000>;
	};
	opp-528000000 {
		opp-hz = /bits/ 64 <528000000>;
		opp-microvolt = <900000>;
		status = "disabled";
	};
	opp-600000000 {
		opp-hz = /bits/ 64 <600000000>;
		opp-microvolt = <900000>;
		status = "disabled";
	};
	opp-800000000 {
		opp-hz = /bits/ 64 <800000000>;
		opp-microvolt = <900000>;
		status = "disabled";
	};
	opp-856000000 {
		opp-hz = /bits/ 64 <856000000>;
		opp-microvolt = <900000>;
	};
	opp-928000000 {
		opp-hz = /bits/ 64 <928000000>;
		opp-microvolt = <900000>;
		status = "disabled";
	};
	opp-1056000000 {
		opp-hz = /bits/ 64 <1056000000>;
		opp-microvolt = <900000>;
		status = "disabled";
	};
};

&thermal_zones{
	soc_thermal: soc-thermal {
		trips {
			threshold: trip-point-0 {
				temperature = <100000>; /* millicelsius */
				hysteresis = <2000>; /* millicelsius */
				type = "passive";
			};
			target: trip-point-1 {
				temperature = <110000>; /* millicelsius */
				hysteresis = <2000>; /* millicelsius */
				type = "passive";
			};
			soc_crit: soc-crit {
				temperature = <120000>; /* millicelsius */
				hysteresis = <2000>; /* millicelsius */
				type = "critical";
			};
		};
	};
};

&pinctrl {
	pinctrl-names = "default";
	pinctrl-0 = <&usb_hub_rst &adv_gpios>;
	status = "okay";

	pcfg_pull_up_18ma: pcfg-pull-up-18ma {
		bias-pull-up;
		drive-strength = <18>;
	};

	pcfg_pull_none_16ma: pcfg-pull-none-16ma {
		bias-disable;
		drive-strength = <16>;
	};

	pcfg_pull_none_26ma: pcfg-pull-none-26ma {
		bias-disable;
		drive-strength = <26>;
	};

	pmic {
		pmic_int_l: pmic-int-l {
			rockchip,pins =
				<1 21 RK_FUNC_GPIO &pcfg_pull_up>;
		};

		vsel1_gpio: vsel1-gpio {
			rockchip,pins =
				<1 17 RK_FUNC_GPIO &pcfg_pull_down>;
		};

		vsel2_gpio: vsel2-gpio {
			rockchip,pins =
			<1 14 RK_FUNC_GPIO &pcfg_pull_down>;
		};

		clk32k_in: clk32k-in {
			rockchip,pins =
				<0 0 RK_FUNC_2 &pcfg_pull_down>;
		};
	};

	sdmmc {
		sdio_pwr_en: sdio-pwr-en {
			rockchip,pins =
				<0 9 RK_FUNC_GPIO &pcfg_pull_up>; //GPIO0_B1 - PMUIO2_VOLSEL
		};

		sdmmc_bus4: sdmmc-bus4 {
			rockchip,pins =
				<4 8 RK_FUNC_1 &pcfg_pull_up_18ma>,
				<4 9 RK_FUNC_1 &pcfg_pull_up_18ma>,
				<4 10 RK_FUNC_1 &pcfg_pull_up_18ma>,
				<4 11 RK_FUNC_1 &pcfg_pull_up_18ma>;
		};

		sdmmc_clk: sdmmc-clk {
			rockchip,pins =
				<4 12 RK_FUNC_1 &pcfg_pull_up_18ma>;
		};

		sdmmc_cmd: sdmmc-cmd {
			rockchip,pins =
				<4 13 RK_FUNC_1 &pcfg_pull_up_18ma>;
		};
	};

	sata {
		sata_drv: sata-drv {
			rockchip,pins =
				<1 0 RK_FUNC_GPIO &pcfg_pull_none>;
		};
	};

	rgmii_phys {
		rgmii_phy_reset: rgmii-phy-reset {
			rockchip,pins = <3 16 RK_FUNC_GPIO &pcfg_pull_down>;
		};
	};

	usb {
		usb4_en: usb4-en {
			rockchip,pins =
				<4 23 RK_FUNC_GPIO &pcfg_pull_up>; // GPIO4_C7 / USB4_EN_OC_1V8
		};
		usb5_en: usb5-en {
			rockchip,pins =
				<4 24 RK_FUNC_GPIO &pcfg_pull_up>; // GPIO4_D0 / USB5_EN_OC_1V8
		};
		otg_vbus_drv: otg-vbus-drv {
			rockchip,pins =
				<2 1 RK_FUNC_GPIO &pcfg_pull_none>; // GPIO2_A1 / USB0_EN_OC_1V8#
		};
	};

	usb_hub {
		vcc1v2_en: vcc1v2-en {
			rockchip,pins =
				<1 4 RK_FUNC_GPIO &pcfg_pull_up>; // GPIO1_A4 / VCC_1V2_EN
		};
		usb_hub_rst: usb-hub-rst {
			rockchip,pins =
				<4 26 RK_FUNC_GPIO &pcfg_pull_up>; // GPIO4_D2 / USBHUB_RST_1V8
		};
	};

	edp {
		edp_hpd: edp-hpd {
			rockchip,pins =
				<4 28 RK_FUNC_GPIO &pcfg_pull_none>;
		};
	};

	edp-panel {
		edp_vdd_pwr: edp-vdd-pwr {
			rockchip,pins = <2 4 RK_FUNC_GPIO &pcfg_pull_down>;
		};
		edp_bkl_en: edp-bkl-en {
			rockchip,pins = <2 6 RK_FUNC_GPIO &pcfg_pull_down>;
		};
	};

	dsi-phy {
		dsi_pwr_vdd_core_h: dsi-pwr-vdd-core-h {
			rockchip,pins = <1 4 RK_FUNC_GPIO &pcfg_pull_down>;
		};
		dsi_pwr_vdd_io_h: dsi-pwr-vdd-io-h {
			rockchip,pins = <1 22 RK_FUNC_GPIO &pcfg_pull_down>;
		};
		dsi_enable_h: dsi-enable-h {
			rockchip,pins = <0 2 RK_FUNC_GPIO &pcfg_pull_down>;
		};
		dsi_reset_l: dsi-reset-l {
			rockchip,pins = <1 24 RK_FUNC_GPIO &pcfg_pull_down>;
		};
	};

	lvds-panel {
		lvds_vdd_pwr: lvds-vdd-pwr {
			rockchip,pins = <2 5 RK_FUNC_GPIO &pcfg_pull_down>;
		};
		lvds_bkl_pwr_on: lvds-bkl-pwr-on {
			rockchip,pins = <1 0 RK_FUNC_GPIO &pcfg_pull_down>;
		};
		lvds_bkl_pwm_en: lvds-bkl-pwm-en {
			rockchip,pins = <4 30 RK_FUNC_GPIO &pcfg_pull_down>;
		};
	};

	vdp0 {
		dp_det: dp-det {
			rockchip,pins = <4 25 RK_FUNC_GPIO &pcfg_pull_none>;
		};
	};

	i2s0 {
		i2s0_8ch_bus_1: i2s0-8ch-bus-1 {
			rockchip,pins =
				<3 24 RK_FUNC_1 &pcfg_pull_none>,
				<3 25 RK_FUNC_1 &pcfg_pull_none>,
				<3 26 RK_FUNC_1 &pcfg_pull_none>,
				<3 27 RK_FUNC_1 &pcfg_pull_none>,
				<3 28 RK_FUNC_1 &pcfg_pull_none>,
				<3 29 RK_FUNC_1 &pcfg_pull_none>,
				<3 30 RK_FUNC_1 &pcfg_pull_none>,
				<3 31 RK_FUNC_1 &pcfg_pull_none>;
		};
	};

	wireless-bluetooth {
		uart0_gpios: uart0-gpios {
			rockchip,pins =
				<2 19 RK_FUNC_GPIO &pcfg_pull_none>;
		};
	};

	misc {
		m2_reset_l: m2-reset-l {
			rockchip,pins = <2 28 RK_FUNC_GPIO &pcfg_pull_up>;
		};

		adv_gpios: adv-gpios {
			rockchip,pins = <1 2   RK_FUNC_GPIO &pcfg_pull_none>, 
							<1 3   RK_FUNC_GPIO &pcfg_pull_none>, 
							<1 9   RK_FUNC_GPIO &pcfg_pull_none>, 
							<1 10  RK_FUNC_GPIO &pcfg_pull_none>, 
							<1 13  RK_FUNC_GPIO &pcfg_pull_none>, 
							<1 18  RK_FUNC_GPIO &pcfg_pull_none>, 
							<1 20  RK_FUNC_GPIO &pcfg_pull_none>, 
							<1 22  RK_FUNC_GPIO &pcfg_pull_none>, 
							<1 23  RK_FUNC_GPIO &pcfg_pull_none>, 
							<2  2  RK_FUNC_GPIO &pcfg_pull_none>, 
							<2  3  RK_FUNC_GPIO &pcfg_pull_none>,
							<4 21  RK_FUNC_GPIO &pcfg_pull_none>;
		};
	};

	gmac {
		rgmii_16ma_pins: rgmii-16ma-pins {
			rockchip,pins =
				/* mac_txclk */
				<3 17 RK_FUNC_1 &pcfg_pull_none_16ma>,
				/* mac_rxclk */
				<3 14 RK_FUNC_1 &pcfg_pull_none>,
				/* mac_mdio */
				<3 13 RK_FUNC_1 &pcfg_pull_none>,
				/* mac_txen */
				<3 12 RK_FUNC_1 &pcfg_pull_none_13ma>,
				/* mac_clk */
				<3 11 RK_FUNC_1 &pcfg_pull_none>,
				/* mac_rxdv */
				<3 9 RK_FUNC_1 &pcfg_pull_none>,
				/* mac_mdc */
				<3 8 RK_FUNC_1 &pcfg_pull_none>,
				/* mac_rxd1 */
				<3 7 RK_FUNC_1 &pcfg_pull_none>,
				/* mac_rxd0 */
				<3 6 RK_FUNC_1 &pcfg_pull_none>,
				/* mac_txd1 */
				<3 5 RK_FUNC_1 &pcfg_pull_none_13ma>,
				/* mac_txd0 */
				<3 4 RK_FUNC_1 &pcfg_pull_none_13ma>,
				/* mac_rxd3 */
				<3 3 RK_FUNC_1 &pcfg_pull_none>,
				/* mac_rxd2 */
				<3 2 RK_FUNC_1 &pcfg_pull_none>,
				/* mac_txd3 */
				<3 1 RK_FUNC_1 &pcfg_pull_none_13ma>,
				/* mac_txd2 */
				<3 0 RK_FUNC_1 &pcfg_pull_none_13ma>;
		};

		rgmii_26ma_pins: rgmii-26ma-pins {
			rockchip,pins =
				/* mac_txclk */
				<3 17 RK_FUNC_1 &pcfg_pull_none_26ma>,
				/* mac_rxclk */
				<3 14 RK_FUNC_1 &pcfg_pull_none>,
				/* mac_mdio */
				<3 13 RK_FUNC_1 &pcfg_pull_none>,
				/* mac_txen */
				<3 12 RK_FUNC_1 &pcfg_pull_none_26ma>,
				/* mac_clk */
				<3 11 RK_FUNC_1 &pcfg_pull_none>,
				/* mac_rxdv */
				<3 9 RK_FUNC_1 &pcfg_pull_none>,
				/* mac_mdc */
				<3 8 RK_FUNC_1 &pcfg_pull_none>,
				/* mac_rxd1 */
				<3 7 RK_FUNC_1 &pcfg_pull_none>,
				/* mac_rxd0 */
				<3 6 RK_FUNC_1 &pcfg_pull_none>,
				/* mac_txd1 */
				<3 5 RK_FUNC_1 &pcfg_pull_none_26ma>,
				/* mac_txd0 */
				<3 4 RK_FUNC_1 &pcfg_pull_none_26ma>,
				/* mac_rxd3 */
				<3 3 RK_FUNC_1 &pcfg_pull_none>,
				/* mac_rxd2 */
				<3 2 RK_FUNC_1 &pcfg_pull_none>,
				/* mac_txd3 */
				<3 1 RK_FUNC_1 &pcfg_pull_none_26ma>,
				/* mac_txd2 */
				<3 0 RK_FUNC_1 &pcfg_pull_none_26ma>;
		};
	};
};
